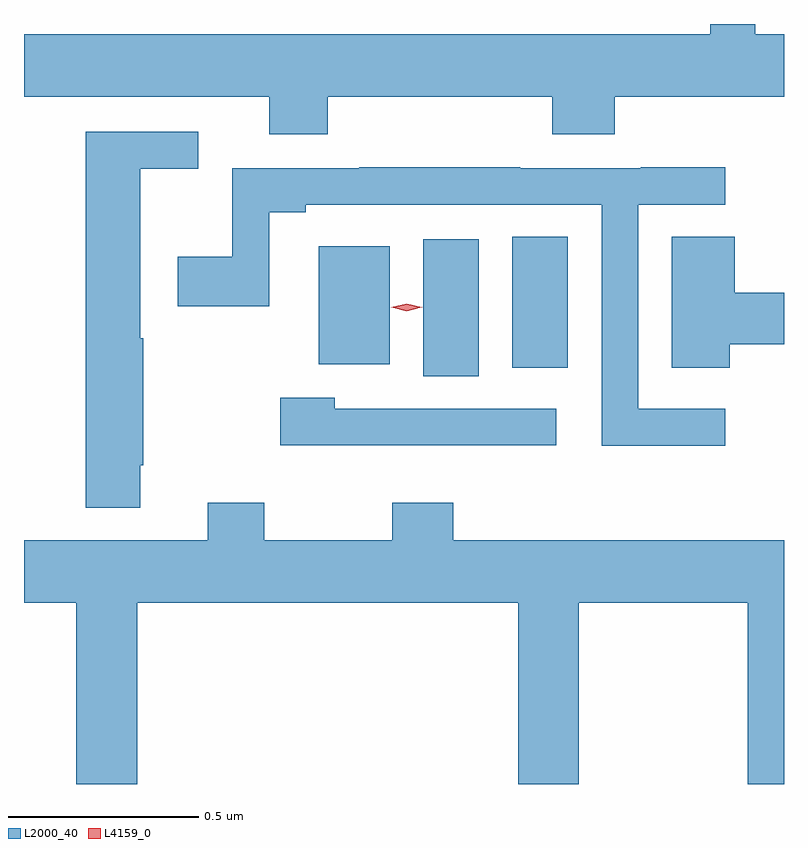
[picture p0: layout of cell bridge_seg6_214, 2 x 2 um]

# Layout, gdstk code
import gdstk
lib = gdstk.Library(unit=1e-6, precision=1e-09)
def R(c, l, rs):  # rectangles x0, y0, x1, y1
    for r in rs: c.add(gdstk.rectangle(r[:2], r[2:], *l))
def P(c, l, *ps):  # polygons
    for p in ps: c.add(gdstk.Polygon(p, *l))
L2000_40 = (2000, 40)
L4159_0 = (4159, 0)

bridge_seg6_214 = lib.new_cell('bridge_seg6_214')
R(bridge_seg6_214, L2000_40, [(240.164,970.576,240.31,970.936), (240.398,970.599,240.544,970.943), (239.888,970.607,240.076,970.918)])
P(bridge_seg6_214, L2000_40, [(239.912,971.312),(240.503,971.312),(240.503,971.213),(240.668,971.213),(240.668,971.312),(241.113,971.312),(241.113,971.476),(241.037,971.476),(241.037,971.503),(240.919,971.503),(240.919,971.476),(239.113,971.476),(239.113,971.312),(239.759,971.312),(239.759,971.213),(239.912,971.213)],
  [(239.419,970.342),(239.427,970.342),(239.427,970.676),(239.419,970.676),(239.419,971.122),(239.572,971.122),(239.572,971.22),(239.276,971.22),(239.276,970.23),(239.419,970.23)],
  [(240.958,970.491),(240.729,970.491),(240.729,971.028),(240.958,971.028),(240.958,971.126),(240.736,971.126),(240.736,971.124),(240.419,971.124),(240.419,971.126),(239.995,971.126),(239.995,971.124),(239.661,971.124),(239.661,970.891),(239.517,970.891),(239.517,970.76),(239.758,970.76),(239.758,971.008),(239.854,971.008),(239.854,971.028),(240.633,971.028),(240.633,970.393),(240.958,970.393)],
  [(240.97,970.66),(241.113,970.66),(241.113,970.796),(240.983,970.796),(240.983,970.943),(240.818,970.943),(240.818,970.599),(240.97,970.599)],
  [(240.514,970.491),(239.931,970.491),(239.931,970.519),(239.787,970.519),(239.787,970.394),(240.514,970.394)],
  [(239.411,969.98),(240.413,969.98),(240.413,969.503),(240.573,969.503),(240.573,969.98),(241.018,969.98),(241.018,969.503),(241.113,969.503),(241.113,970.144),(240.242,970.144),(240.242,970.243),(240.082,970.243),(240.082,970.144),(239.745,970.144),(239.745,970.243),(239.597,970.243),(239.597,970.144),(239.113,970.144),(239.113,969.98),(239.251,969.98),(239.251,969.503),(239.411,969.503)])
P(bridge_seg6_214, L4159_0, [(240.12,970.747),(240.08,970.757),(240.08,970.757),(240.08,970.757),(240.12,970.767),(240.16,970.757),(240.161,970.757),(240.16,970.757)])

lib.write_gds('bridge_seg6_214.gds')
